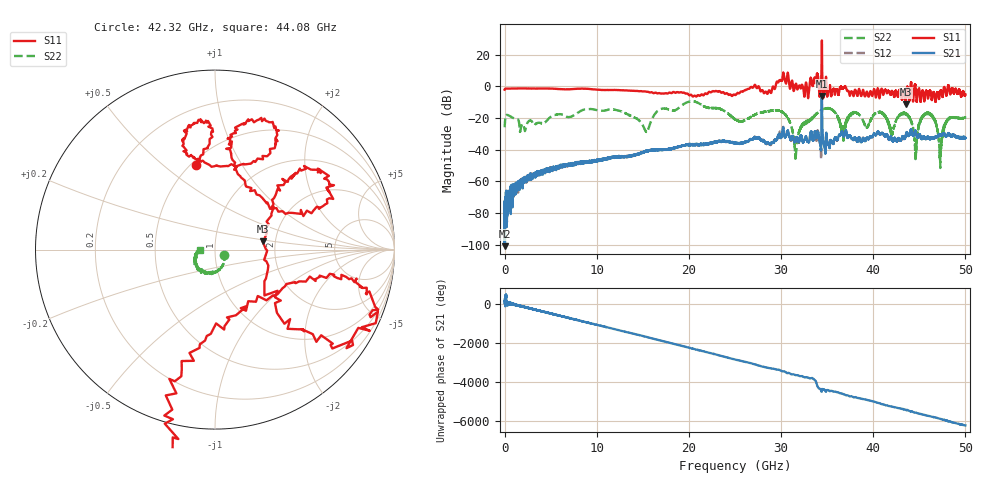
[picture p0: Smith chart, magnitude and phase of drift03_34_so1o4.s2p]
!Created with skrf (http://scikit-rf.org).
# Hz S RI R 50.0
!freq ReS11 ImS11 ReS21 ImS21 ReS12 ImS12 ReS22 ImS22
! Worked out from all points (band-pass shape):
!   10000 points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, 5.3 MHz to 50 GHz, reference 50 ohm
!   highest |S21| = -6.18 dB at 34.43 GHz (marker M1); lowest = -100.9 dB at 40.3 MHz (marker M2)
!   |S21| within 3 dB of the highest: 34.42756 GHz to 34.43467 GHz (7.113 MHz wide, 0.0207 % of centre)
!   lowest |S11| = -11.4 dB at 43.52 GHz (marker M3), VSWR 1.74, Z = 85.5 + j8.51 ohm
!   |S11| at or under -10 dB: 43.49424 GHz to 43.54544 GHz (51.2 MHz wide, 0.118 % of centre)
!   |S22| runs from -51.6 to -9.4 dB; largest |S21 - S12| = 0.13
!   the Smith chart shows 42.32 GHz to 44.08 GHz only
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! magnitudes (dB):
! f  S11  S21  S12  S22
! 5.3 MHz  -2.1  -80.6  -73.2  -25.9
! 40.3 MHz  -1.7  -100.9  -88.1  -21.4
! 2.37 GHz  -1.4  -57.1  -58.6  -24.8
! 8.34 GHz  -1.5  -48.6  -47.9  -15.3
! 15.39 GHz  -3.4  -40.8  -40.9  -28.8
! 16.67 GHz  -4.4  -40.1  -39.9  -15.3
! 20.45 GHz  -6.5  -37.1  -36.6  -9.5
! 25.01 GHz  -5.5  -35.8  -36.0  -20.8
! 29.93 GHz  4.0  -32.4  -31.7  -15.6
! 31.6 GHz  1.5  -33.6  -34.0  -43.7
! 33.34 GHz  2.5  -30.0  -30.6  -20.4
! 34.43 GHz  28.9  -6.2  -7.9  -14.6
! 36.7 GHz  -1.4  -29.8  -29.7  -28.0
! 37.95 GHz  -3.9  -32.9  -32.9  -16.4
! 41.67 GHz  -3.0  -33.5  -33.4  -22.3
! 43.52 GHz  -11.4  -31.3  -31.5  -17.6
! 44.61 GHz  -1.3  -28.8  -29.0  -44.4
! 45.27 GHz  -3.9  -33.2  -33.3  -20.2
! 46.22 GHz  -3.7  -33.3  -33.1  -17.7
! 47.29 GHz  -3.0  -31.0  -30.8  -48.8
! 48.14 GHz  0.5  -30.2  -29.9  -20.9
! 50 GHz  -5.2  -32.7  -32.7  -19.6
